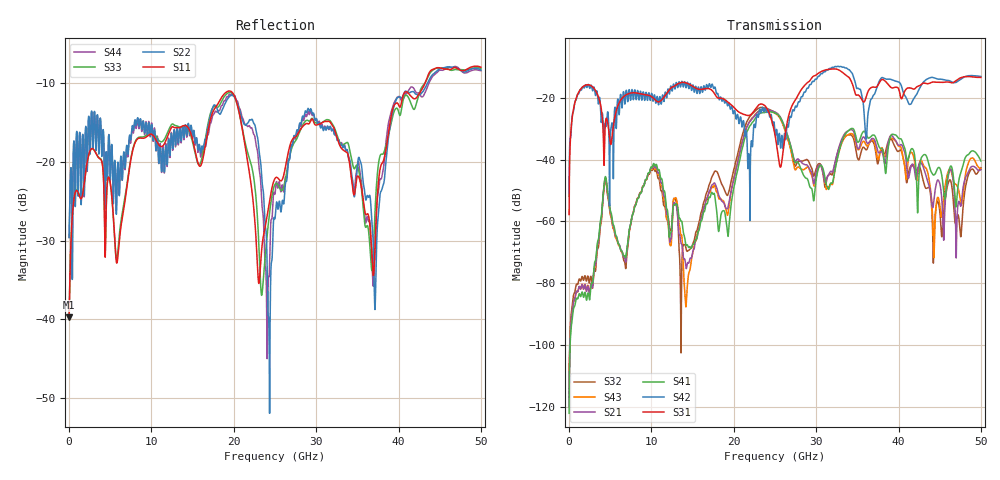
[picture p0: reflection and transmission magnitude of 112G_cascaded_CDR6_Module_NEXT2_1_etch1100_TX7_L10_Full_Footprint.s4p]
! Created Tue Feb 26 10:24:24 2019
# hz S ma R 50
! 4 Port Network Data from SP1.SP block
! freq  magS11  angS11  magS12  angS12  magS13  angS13  magS14  angS14
!  magS21  angS21  magS22  angS22  magS23  angS23  magS24  angS24
!  magS31  angS31  magS32  angS32  magS33  angS33  magS34  angS34
!  magS41  angS41  magS42  angS42  magS43  angS43  magS44  angS44
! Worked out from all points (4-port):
!   5000 points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, 10 MHz to 50 GHz, reference 50 ohm
!   strongest paths, dB at 10 MHz, 12.51 GHz, 25.01 GHz, 37.51 GHz, 50 GHz:
!     S31: -57.8, -16.5, -32.1, -15.9, -13.4
!     S42: -51.9, -17.8, -31.5, -15.7, -13.1
!     S41: -122.1, -59.9, -24.9, -35.0, -40.4
!     S21: -119.9, -61.5, -24.6, -37.5, -43.2
!     S43: -120.0, -61.5, -25.0, -40.1, -43.0
!     S32: -117.7, -60.3, -24.7, -41.2, -42.6
!   lowest |S11| = -39.7 dB at 10 MHz (marker M1), VSWR 1.02, Z = 51 + j0.0977 ohm
!   |S11| at or under -10 dB: start of sweep to 43.23 GHz
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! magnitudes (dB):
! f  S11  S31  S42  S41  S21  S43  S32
! 10 MHz  -39.7  -57.8  -51.9  -122.1  -119.9  -120.0  -117.7
! 1.61 GHz  -24.3  -16.6  -16.6  -82.9  -80.5  -80.5  -77.9
! 10.38 GHz  -16.9  -20.5  -19.1  -41.8  -42.3  -42.7  -43.4
! 14.21 GHz  -15.4  -15.2  -16.7  -67.8  -75.1  -87.3  -68.8
! 23.15 GHz  -34.5  -22.1  -23.7  -25.1  -24.2  -24.1  -23.2
! 44.28 GHz  -8.2  -14.9  -13.5  -45.0  -53.6  -70.8  -67.8
! 50 GHz  -8.0  -13.4  -13.1  -40.4  -43.2  -43.0  -42.6
